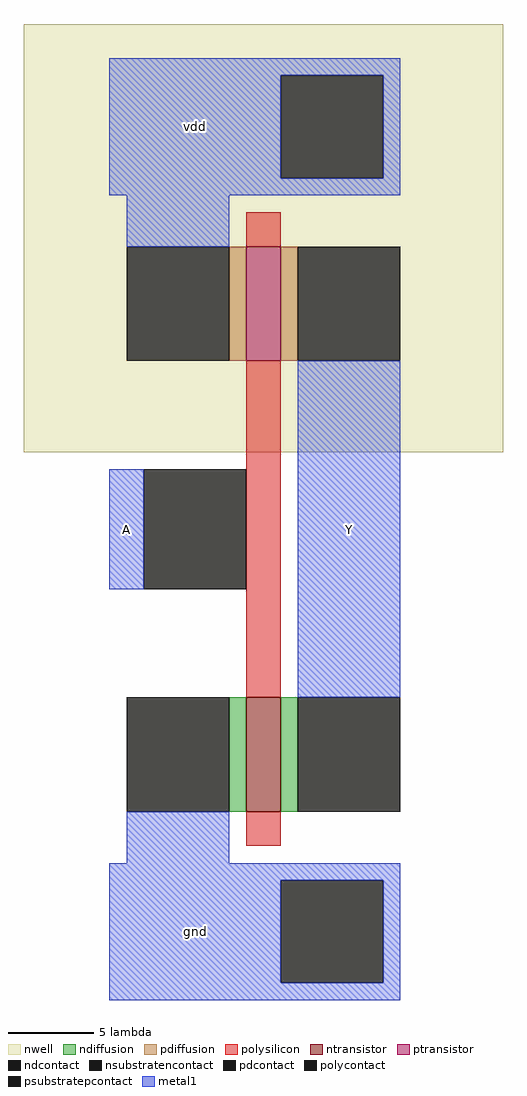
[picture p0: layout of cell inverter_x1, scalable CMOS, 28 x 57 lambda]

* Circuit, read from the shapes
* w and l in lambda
.subckt inverter_x1 A Y vdd gnd
M1 Y A gnd gnd nfet w=6.667 l=2
M2 Y A vdd vdd pfet w=6.667 l=2
.ends

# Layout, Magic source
magic
tech scmos
magscale 1 3
<< nwell >>
rect -30 -6 54 69
<< ntransistor >>
rect 9 -69 15 -49
<< ptransistor >>
rect 9 10 15 30
<< ndiffusion >>
rect 6 -69 9 -49
rect 15 -69 18 -49
<< pdiffusion >>
rect 6 10 9 30
rect 15 10 18 30
<< ndcontact >>
rect -12 -69 6 -49
rect 18 -69 36 -49
<< pdcontact >>
rect -12 10 6 30
rect 18 10 36 30
<< psubstratepcontact >>
rect 15 -99 33 -81
<< nsubstratencontact >>
rect 15 42 33 60
<< polysilicon >>
rect 9 30 15 36
rect 9 -49 15 10
rect 9 -75 15 -69
<< polycontact >>
rect -9 -30 9 -9
<< metal1 >>
rect -15 60 36 63
rect -15 42 15 60
rect 33 42 36 60
rect -15 39 36 42
rect -12 30 6 39
rect -15 -30 -9 -9
rect 18 -49 36 10
rect -12 -78 6 -69
rect -15 -81 36 -78
rect -15 -99 15 -81
rect 33 -99 36 -81
rect -15 -102 36 -99
<< labels >>
rlabel metal1 -15 39 15 63 0 vdd
port 2 nsew
rlabel metal1 -15 -102 15 -78 0 gnd
port 3 nsew
rlabel metal1 -15 -30 -9 -9 7 A
port 0 w
rlabel metal1 18 -48 36 9 3 Y
port 1 e
<< end >>
